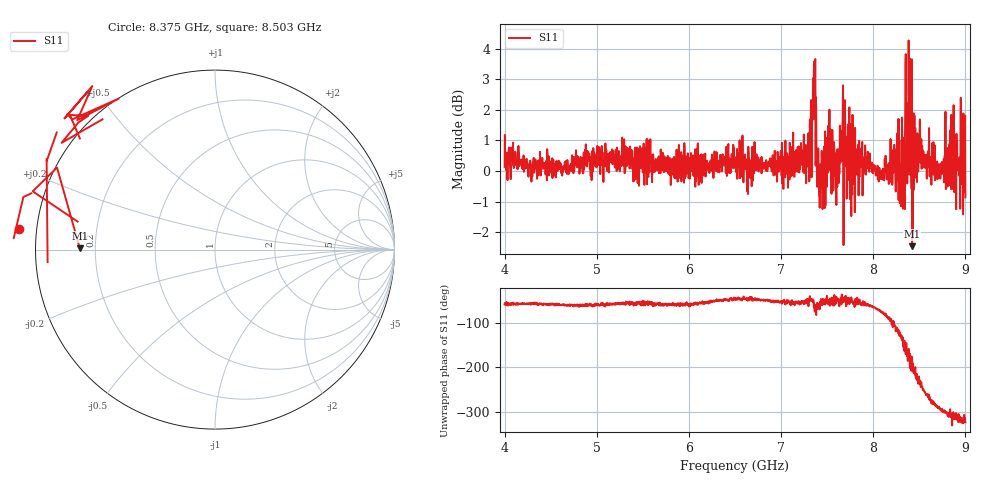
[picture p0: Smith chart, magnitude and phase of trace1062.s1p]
! Created with skrf 1.8.0 (http://scikit-rf.org).
# Hz S RI R 50.0
!freq ReS11 ImS11
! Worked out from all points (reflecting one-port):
!   1601 points, 4 GHz to 9 GHz, reference 50 ohm
!   lowest |S11| = -2.5 dB at 8.422 GHz (marker M1), VSWR 7.10, Z = 7.04 + j0.217 ohm
!   phase of S11 starts at -58 deg and turns -266 deg over the sweep
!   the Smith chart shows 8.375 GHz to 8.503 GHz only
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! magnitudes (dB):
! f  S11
! 4 GHz  0.1
! 4.625 GHz  -0.2
! 5.25 GHz  0.0
! 5.875 GHz  0.1
! 6.5 GHz  0.4
! 7.125 GHz  0.6
! 7.294 GHz  0.6
! 7.359 GHz  2.7
! 7.412 GHz  -0.8
! 7.512 GHz  1.5
! 7.591 GHz  0.6
! 7.619 GHz  0.7
! 7.662 GHz  0.3
! 7.75 GHz  0.0
! 8.097 GHz  0.0
! 8.259 GHz  1.2
! 8.316 GHz  0.6
! 8.338 GHz  0.3
! 8.375 GHz  0.8
! 8.412 GHz  0.5
! 8.422 GHz  -2.5
! 8.447 GHz  1.8
! 8.459 GHz  -0.2
! 8.519 GHz  0.9
! 8.562 GHz  0.2
! 8.694 GHz  0.3
! 8.972 GHz  0.8
! 9 GHz  -0.9
